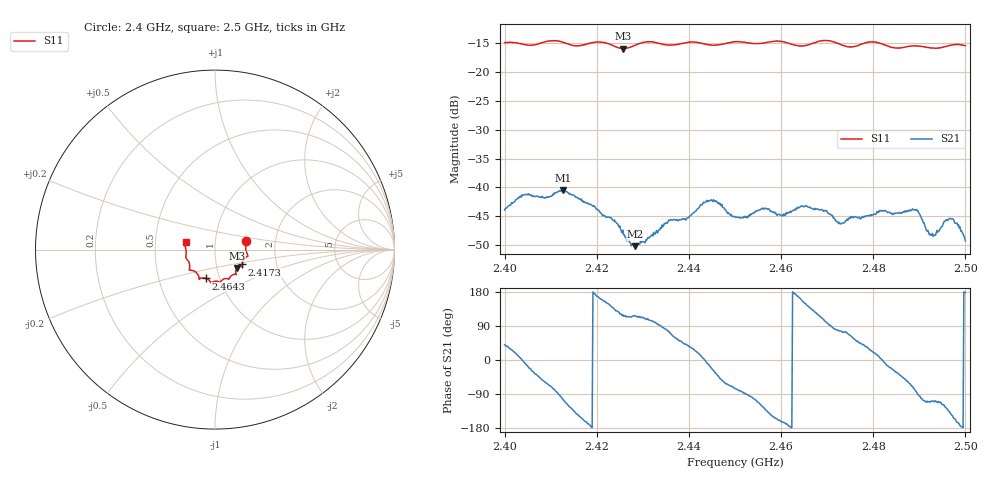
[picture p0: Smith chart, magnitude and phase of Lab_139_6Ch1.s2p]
# Hz S RI R 50
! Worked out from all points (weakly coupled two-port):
!   601 points, 2.4 GHz to 2.5 GHz, reference 50 ohm
!   highest |S21| = -40.45 dB at 2.4127 GHz (marker M1); lowest = -50.2 dB at 2.4283 GHz (marker M2)
!   lowest |S11| = -15.9 dB at 2.4257 GHz (marker M3), VSWR 1.38, Z = 62.5 - j13.1 ohm
!   |S11| at or under -10 dB: start of sweep to end of sweep
!   S12 and S22 are empty: the file has one direction only
!   S11 on the Smith chart (normalised r, x): 2.4 GHz: 1.41, +0.14; 2.4173 GHz: 1.34, -0.23; 2.4643 GHz: 0.86, -0.28; 2.5 GHz: 0.72, +0.06
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2.4e9  0.1731 0.0487  0.00486 0.00411  0 0  0 0
2.404333e9  0.1718 0.0221  0.00862 -0.00104  0 0  0 0
2.408833e9  0.1812 -0.0278  0.00421 -0.00701  0 0  0 0
2.412667e9  0.1769 -0.0399  -0.00227 -0.00922  0 0  0 0
2.416667e9  0.1528 -0.075  -0.00706 -0.00366  0 0  0 0
2.417333e9  0.1518 -0.0824  -0.00707 -0.00251  0 0  0 0
2.423333e9  0.1427 -0.094  -0.00401 0.00345  0 0  0 0
2.425667e9  0.1229 -0.1019  -0.00209 0.00371  0 0  0 0
2.428333e9  0.1151 -0.1263  -0.00141 0.00276  0 0  0 0
2.433333e9  0.1128 -0.1375  -0.000305 0.00416  0 0  0 0
2.444333e9  0.0608 -0.1611  0.00747 -0.00166  0 0  0 0
2.45e9  0.029 -0.181  0.0014 -0.00539  0 0  0 0
2.456167e9  -0.00774 -0.1783  -0.00373 -0.00527  0 0  0 0
2.4605e9  -0.0254 -0.1813  -0.00566 -0.00158  0 0  0 0
2.464333e9  -0.0503 -0.1605  -0.00649 0.00235  0 0  0 0
2.466667e9  -0.0761 -0.1589  -0.00455 0.00478  0 0  0 0
2.473e9  -0.0908 -0.1469  0.00113 0.0047  0 0  0 0
2.483333e9  -0.1409 -0.0898  0.00579 -0.00183  0 0  0 0
2.489167e9  -0.1627 -0.0444  0.000992 -0.00632  0 0  0 0
2.493e9  -0.1605 -0.0142  -0.00123 -0.00356  0 0  0 0
2.497e9  -0.1694 0.0268  -0.00439 -0.00302  0 0  0 0
2.5e9  -0.1639 0.0424  -0.00343 0.000115  0 0  0 0
